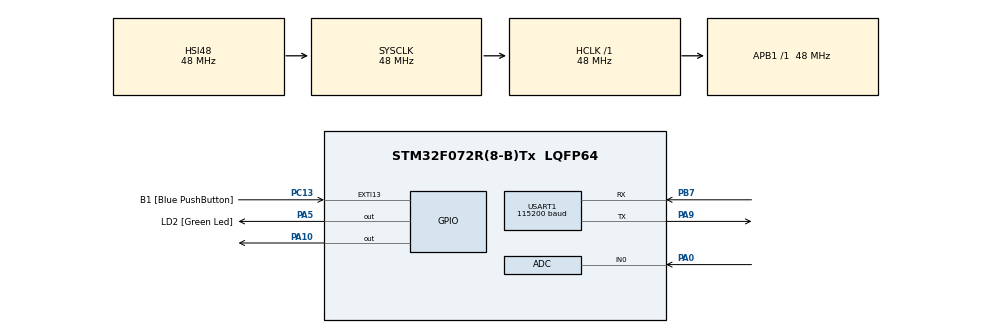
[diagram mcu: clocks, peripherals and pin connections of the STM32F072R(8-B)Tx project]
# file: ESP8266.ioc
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Dma.ADC.0.Direction=DMA_PERIPH_TO_MEMORY
Dma.ADC.0.Instance=DMA1_Channel1
Dma.ADC.0.MemDataAlignment=DMA_MDATAALIGN_HALFWORD
Dma.ADC.0.MemInc=DMA_MINC_ENABLE
Dma.ADC.0.Mode=DMA_NORMAL
Dma.ADC.0.PeriphDataAlignment=DMA_PDATAALIGN_HALFWORD
Dma.ADC.0.PeriphInc=DMA_PINC_DISABLE
Dma.ADC.0.Priority=DMA_PRIORITY_LOW
Dma.Request0=ADC
Mcu.Family=STM32F0
Mcu.Name=STM32F072R(8-B)Tx
Mcu.Package=LQFP64
NVIC.DMA1_Channel1_IRQn=true\:0\:0\:false\:false\:true\:false\:true\:true
PA0.Mode=IN0
PA0.Signal=ADC_IN0
PA10.Signal=GPIO_Output
PA13.GPIO_Label=TMS
PA13.Mode=Serial_Wire
PA13.Signal=SYS_SWDIO
PA14.GPIO_Label=TCK
PA14.Mode=Serial_Wire
PA14.Signal=SYS_SWCLK
PA2.GPIO_Label=USART_TX
PA2.GPIO_Mode=GPIO_MODE_AF_PP
PA2.GPIO_PuPd=GPIO_NOPULL
PA2.GPIO_Speed=GPIO_SPEED_FREQ_LOW
PA2.Signal=USART2_TX
PA3.GPIO_Label=USART_RX
PA3.GPIO_Mode=GPIO_MODE_AF_PP
PA3.GPIO_PuPd=GPIO_NOPULL
PA3.GPIO_Speed=GPIO_SPEED_FREQ_LOW
PA3.Signal=USART2_RX
PA5.GPIO_Label=LD2 [Green Led]
PA5.GPIO_Mode=GPIO_MODE_OUTPUT_PP
PA5.GPIO_PuPd=GPIO_NOPULL
PA5.GPIO_Speed=GPIO_SPEED_FREQ_LOW
PA5.Signal=GPIO_Output
PA9.Mode=Asynchronous
PA9.Signal=USART1_TX
PB7.Mode=Asynchronous
PB7.Signal=USART1_RX
PC13.GPIO_Label=B1 [Blue PushButton]
PC13.GPIO_ModeDefaultEXTI=GPIO_MODE_IT_FALLING
PC13.Signal=GPXTI13
PC14-OSC32_IN.Signal=RCC_OSC32_IN
PC15-OSC32_OUT.Signal=RCC_OSC32_OUT
PF0-OSC_IN.Mode=HSE-External-Oscillator
PF0-OSC_IN.Signal=RCC_OSC_IN
PF1-OSC_OUT.Mode=HSE-External-Oscillator
PF1-OSC_OUT.Signal=RCC_OSC_OUT
ProjectManager.HeapSize=0x200
ProjectManager.StackSize=0x400
ProjectManager.TargetToolchain=STM32CubeIDE
RCC.AHBFreq_Value=48000000
RCC.APB1Freq_Value=48000000
RCC.APB1TimFreq_Value=48000000
RCC.FLatency-AdvancedSettings=FLASH_LATENCY_1
RCC.HCLKFreq_Value=48000000
RCC.PLLDivider=RCC_PREDIV_DIV2
RCC.PLLMUL=RCC_PLL_MUL12
RCC.PREFETCH_ENABLE-AdvancedSettings=1
RCC.SYSCLKFreq_VALUE=48000000
RCC.SYSCLKSource=RCC_SYSCLKSOURCE_HSI48
USART1.BaudRate=115200
USART1.VirtualMode-Asynchronous=VM_ASYNC
board=NUCLEO-F072RB

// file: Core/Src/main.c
/* USER CODE BEGIN Header */
/**
  ******************************************************************************
  * @file           : main.c
  * @brief          : Main program body
  ******************************************************************************
  * @attention
  *
  * Copyright (c) 2024 STMicroelectronics.
  * All rights reserved.
  *
  * This software is licensed under terms that can be found in the LICENSE file
  * in the root directory of this software component.
  * If no LICENSE file comes with this software, it is provided AS-IS.
  *
  ******************************************************************************
  */
/* USER CODE END Header */
#include "main.h"

/* USER CODE BEGIN Includes */
#include <string.h>
#include <stdio.h>
/* USER CODE END Includes */

ADC_HandleTypeDef hadc;
DMA_HandleTypeDef hdma_adc;

UART_HandleTypeDef huart1;

/* USER CODE BEGIN PV */
void UART_SendString(UART_HandleTypeDef *huart, const char *str);
void UART_ReceiveString(UART_HandleTypeDef *huart, char *buffer, uint16_t buffer_size);
void ESP8266_SendATCommand(UART_HandleTypeDef *huart, const char *cmd, char *response, uint16_t response_size);
/* USER CODE END PV */

void SystemClock_Config(void);
static void MX_GPIO_Init(void);
static void MX_DMA_Init(void);
static void MX_ADC_Init(void);
static void MX_USART1_UART_Init(void);

/* USER CODE BEGIN 0 */
uint8_t rxBuffer[500] = {0};
uint8_t ATisOK;
char ATcommand[64];
char myData[64];
uint32_t timeout = 6000;
/* USER CODE END 0 */

int main(void)
{

  /* MCU Configuration--------------------------------------------------------*/

  /* Reset of all peripherals, Initializes the Flash interface and the Systick. */
  HAL_Init();

  /* USER CODE BEGIN Init */
//  ESP8266_Init(&huart2);
 // ESP8266_Init();
  /* USER CODE END Init */

  /* Configure the system clock */
  SystemClock_Config();

  /* USER CODE BEGIN SysInit */
  /*
__HAL_UART_ENABLE_IT(&huart3,UART_IT_RXNE); //rx interrupt aktif edildi

HAL_ADC_Start_DMA(&hadc, (uint32_t *)adc_buffer, 1);
start:
	if(ESP_INIT()) goto start; //esp den istediğin cevap gelmediğinde bu start a yani ESP_INIT()' e tekrar döner

*/

  /* USER CODE END SysInit */

  /* Initialize all configured peripherals */
  MX_GPIO_Init();
  MX_DMA_Init();
  MX_ADC_Init();
  MX_USART1_UART_Init();
  /* USER CODE BEGIN 2 */
  // AT komutu gönderme ve cevabı okuma
//  uint8_t rxBuffer[512] = {0};
//    uint8_t ATisOK;
//    int channel;
//    int onoff;
//    int led = 1;
//    char ATcommand[64];
//    char ATcommandB[1024];
//    char ATcommandN[100];
//    char ATcommandF[100];
//    char ATcommandT[16];
//    sprintf(ATcommandB,"<!DOCTYPE html><html>\n<head>\n\
//    <title>STM32 - ESP8266</title>\n<link href=\"data:image/x-icon;base64,\
//    A\" rel=\"icon\" type=\"image/x-icon\"><style>\nhtml {\
//    display: inline-block; margin: 0px auto; text-align: center;}\n\
//    body{margin-top: 50px;}\n.button {display: block;\n\
//    width: 70px;\nbackground-color: #008000;\nborder: none;\ncolor: white;\n\
//    padding: 14px 28px;\ntext-decoration: none;\nfont-size: 24px;\n\
//    margin: 0px auto 36px; \nborder-radius: 5px;}\n\
//    .button-on {background-color: #008000;}\n.button-on:active\
//    {background-color: #008000;}\n.button-off {background-color: #808080;}\n\
//    .button-off:active {background-color: #808080;}\n\
//    p {font-size: 14px;color: #808080;margin-bottom: 20px;}\n\
//    </style>\n</head>\n<body>\n<h1>STM32 - ESP8266</h1>");
//    sprintf(ATcommandN,"<p>Light is currently on\
//    </p><a class=\"button button-off\" href=\"/lightoff\">OFF</a>");
//    sprintf(ATcommandF,"<p>Light is currently off\
//    </p><a class=\"button button-on\" href=\"/lighton\">ON</a>");
//    sprintf(ATcommandT,"</body></html>");
//    int countB = strlen(ATcommandB);
//    int countN = strlen(ATcommandN);
//    int countF = strlen(ATcommandF);
//    int countT = strlen(ATcommandT);
//
//    sprintf(ATcommand,"AT+RST\r\n");
//    memset(rxBuffer,0,sizeof(rxBuffer));
//    HAL_UART_Transmit(&huart1,(uint8_t *)ATcommand,strlen(ATcommand),1000);
//    HAL_UART_Receive (&huart1, rxBuffer, 512, 100);
//    HAL_Delay(500);
//
//    ATisOK = 0;
//    while(!ATisOK){
//      sprintf(ATcommand,"AT+CWMODE_CUR=2\r\n");
//        memset(rxBuffer,0,sizeof(rxBuffer));
//        HAL_UART_Transmit(&huart1,(uint8_t *)ATcommand,strlen(ATcommand),1000);
//        HAL_UART_Receive (&huart1, rxBuffer, 512, 1000);
//      if(strstr((char *)rxBuffer,"OK")){
//        ATisOK = 1;
//      }
//      HAL_Delay(500);
//    }
//
//    ATisOK = 0;
//    while(!ATisOK){
//      sprintf(ATcommand,"AT+CWSAP_CUR=\"STM32\",\"12345678\",1,3,4,0\r\n");
//        memset(rxBuffer,0,sizeof(rxBuffer));
//        HAL_UART_Transmit(&huart1,(uint8_t *)ATcommand,strlen(ATcommand),1000);
//        HAL_UART_Receive (&huart1, rxBuffer, 512, 1000);
//      if(strstr((char *)rxBuffer,"OK")){
//        ATisOK = 1;
//      }
//      HAL_Delay(500);
//    }
//
//    ATisOK = 0;
//    while(!ATisOK){
//      sprintf(ATcommand,"AT+CIPAP_CUR=\"192.168.51.1\"\r\n");
//      memset(rxBuffer,0,sizeof(rxBuffer));
//      HAL_UART_Transmit(&huart1,(uint8_t *)ATcommand,strlen(ATcommand),1000);
//      HAL_UART_Receive (&huart1, rxBuffer, 512, 1000);
//      if(strstr((char *)rxBuffer,"OK")){
//        ATisOK = 1;
//      }
//      HAL_Delay(500);
//    }
//
//    ATisOK = 0;
//    while(!ATisOK){
//      sprintf(ATcommand,"AT+CIPMUX=1\r\n");
//        memset(rxBuffer,0,sizeof(rxBuffer));
//        HAL_UART_Transmit(&huart1,(uint8_t *)ATcommand,strlen(ATcommand),1000);
//        HAL_UART_Receive (&huart1, rxBuffer, 512, 1000);
//        if(strstr((char *)rxBuffer,"OK")){
//          ATisOK = 1;
//        }
//        HAL_Delay(500);
//    }
//
//    ATisOK = 0;
//    while(!ATisOK){
//      sprintf(ATcommand,"AT+CIPSERVER=1,80\r\n");
//      memset(rxBuffer,0,sizeof(rxBuffer));
//      HAL_UART_Transmit(&huart1,(uint8_t *)ATcommand,strlen(ATcommand),1000);
//      HAL_UART_Receive (&huart1, rxBuffer, 512, 1000);
//      if(strstr((char *)rxBuffer,"OK")){
//          ATisOK = 1;
//      }
//      HAL_Delay(500);
//    }

  sprintf(ATcommand, "AT+RST\r\n");
  memset(rxBuffer, 0, sizeof(rxBuffer));
  HAL_UART_Transmit(&huart1, (uint8_t*)ATcommand, strlen(ATcommand), 1000);
  HAL_UART_Receive(&huart1, (uint8_t*)rxBuffer, sizeof(rxBuffer), 1000);
  HAL_Delay(500);  // Yanıtın gelmesi için bekleme

  // AT komutunu gönderme ve yanıtı kontrol etme
//  while (!ATisOK)
//  {
//    sprintf(ATcommand, "AT\r\n");
//    memset(rxBuffer, 0, sizeof(rxBuffer));
//
//    if (HAL_UART_Transmit(&huart1, (uint8_t*)ATcommand, strlen(ATcommand), 1000) != HAL_OK)
//    {
//      // Handle transmission error
//    }
//
//    uint32_t start_time = HAL_GetTick(); // Start timeout timer
//    while (HAL_UART_Receive(&huart1, rxBuffer, sizeof(rxBuffer), timeout) != HAL_OK)
//    {
//      if (HAL_GetTick() - start_time >= timeout) {
//        // Handle timeout error
//        break;
//      }
//    }
//
//    if (strstr((char*)rxBuffer, "OK"))
//    {
//      ATisOK = 1;
//    } else
//    {
//      // Handle unexpected response
//    }
//
//    HAL_Delay(500); // Or adjust based on your needs
//  }

  ATisOK = 0;
  while (!ATisOK)
  {
	//sprintf(ATcommand, "AT+CIPSTART=\"TCP\",\"192.168.1.103\",8080\r\n");
	sprintf(ATcommand, "AT+CWMODE=1\r\n");
    memset(rxBuffer, 0, sizeof(rxBuffer));

    if (HAL_UART_Transmit(&huart1, (uint8_t*)ATcommand, strlen(ATcommand), 1000) != HAL_OK)
    {
      // Handle transmission error
    }

    uint32_t start_time = HAL_GetTick(); // Start timeout timer
    while (HAL_UART_Receive(&huart1, rxBuffer, sizeof(rxBuffer), timeout) != HAL_OK)
    {
      if (HAL_GetTick() - start_time >= timeout) {
        // Handle timeout error
        break;
      }
    }

    if (strstr((char*)rxBuffer, "OK"))
    {
      ATisOK = 1;
    } else
    {
      // Handle unexpected response
    }

    HAL_Delay(500); // Or adjust based on your needs
  }

  ATisOK = 0;
  while (!ATisOK)
  {
    sprintf(ATcommand, "AT+CWJAP=\"TurkTelekom_T35F8\",\"6tZhxeGz\"\r\n");
    memset(rxBuffer, 0, sizeof(rxBuffer));

    if (HAL_UART_Transmit(&huart1, (uint8_t*)ATcommand, strlen(ATcommand), 1000) != HAL_OK)
    {
      // Handle transmission error
    }

    uint32_t start_time = HAL_GetTick(); // Start timeout timer
    while (HAL_UART_Receive(&huart1, rxBuffer, sizeof(rxBuffer), timeout) != HAL_OK)
    {
      if (HAL_GetTick() - start_time >= timeout)
      {
        // Handle timeout error
        break;
      }
    }

    // Check for expected response based on your module's documentation
    if (strstr((char*)rxBuffer, "WIFI CONNECTED"))
    {
    	if (strstr((char*)rxBuffer, "WIFI GOT IP"))
    	{
    		if (strstr((char*)rxBuffer, "OK"))
    		{
    			ATisOK = 1;
    		}

    	}

    } else
    {
      // Handle unexpected response (print rxBuffer for debugging)
    }

    HAL_Delay(500); // Or adjust based on your needs
  }

  ATisOK = 0;
  while (!ATisOK)
  {
	sprintf(ATcommand, "AT+CIPSTART=\"TCP\",\"192.168.1.103\",8080\r\n");
    memset(rxBuffer, 0, sizeof(rxBuffer));

    if (HAL_UART_Transmit(&huart1, (uint8_t*)ATcommand, strlen(ATcommand), 1000) != HAL_OK)
    {
      // Handle transmission error
    }

    uint32_t start_time = HAL_GetTick(); // Start timeout timer
    while (HAL_UART_Receive(&huart1, rxBuffer, sizeof(rxBuffer), timeout) != HAL_OK)
    {
      if (HAL_GetTick() - start_time >= timeout)
      {
        // Handle timeout error
        break;
      }
    }

    // Check for expected response based on your module's documentation
    if (strstr((char*)rxBuffer, "CONNECT"))
    {

    	if (strstr((char*)rxBuffer, "OK"))
    	{
    		ATisOK = 1;
    	}

    }
    else if (strstr((char*)rxBuffer, "CLOSED") || strstr((char*)rxBuffer, "ERROR")  ) // server closed
	{

	}
    else
    {
      // Handle unexpected response (print rxBuffer for debugging)
    }

    HAL_Delay(500); // Or adjust based on your needs
  }

  ATisOK = 0;
  while (!ATisOK)
  {

	sprintf(ATcommand, "AT+CIPMODE=1\r\n"); // Transparan mode on
    memset(rxBuffer, 0, sizeof(rxBuffer));

    if (HAL_UART_Transmit(&huart1, (uint8_t*)ATcommand, strlen(ATcommand), 1000) != HAL_OK)
    {
      // Handle transmission error
    }

    uint32_t start_time = HAL_GetTick(); // Start timeout timer
    while (HAL_UART_Receive(&huart1, rxBuffer, sizeof(rxBuffer), timeout) != HAL_OK)
    {
      if (HAL_GetTick() - start_time >= timeout) {
        // Handle timeout error
        break;
      }
    }

    if (strstr((char*)rxBuffer, "OK"))
    {
      ATisOK = 1;
    }
    else
    {
      // Handle unexpected response
    }

    HAL_Delay(500); // Or adjust based on your needs
  }

  ATisOK = 0;
  while (!ATisOK)
  {

	sprintf(ATcommand, "AT+CIPSEND\r\n"); // Transparan mode on

	sprintf(myData, "Hello Burak!\r\n");
    memset(rxBuffer, 0, sizeof(rxBuffer));

    if (HAL_UART_Transmit(&huart1, (uint8_t*)ATcommand, strlen(ATcommand), 1000) != HAL_OK)
    {
      // Handle transmission error
    }

    uint32_t start_time = HAL_GetTick(); // Start timeout timer
    while (HAL_UART_Receive(&huart1, rxBuffer, sizeof(rxBuffer), timeout) != HAL_OK)
    {
      if (HAL_GetTick() - start_time >= timeout) {
        // Handle timeout error
        break;
      }
    }

    if (strstr((char*)rxBuffer, "OK"))
    {
    	if (strstr((char*)rxBuffer, ">"))
    	{
    	    if (HAL_UART_Transmit(&huart1, (uint8_t*)myData, strlen(myData), 1000) != HAL_OK)
    	    {
    	      // Handle transmission error
    	    }

    		ATisOK = 1;
    	}

    }
    else
    {
      // Handle unexpected response
    }

    HAL_Delay(500); // Or adjust based on your needs
  }

  /* USER CODE END 2 */

  /* Infinite loop */
  while (1)
  {

    /* USER CODE BEGIN 3 */

//	    memset(rxBuffer,0,sizeof(rxBuffer));
//	    HAL_UART_Receive (&huart1, rxBuffer, 512, 1000);
//	    if(strstr((char *)rxBuffer,"+IPD,0")) channel = 0;
//	    else if(strstr((char *)rxBuffer,"+IPD,1")) channel = 1;
//	    else if(strstr((char *)rxBuffer,"+IPD,2")) channel = 2;
//	    else if(strstr((char *)rxBuffer,"+IPD,3")) channel = 3;
//	    else if(strstr((char *)rxBuffer,"+IPD,4")) channel = 4;
//	    else if(strstr((char *)rxBuffer,"+IPD,5")) channel = 5;
//	    else if(strstr((char *)rxBuffer,"+IPD,6")) channel = 6;
//	    else if(strstr((char *)rxBuffer,"+IPD,7")) channel = 7;
//	    else channel = 100;
//
//	    if(strstr((char *)rxBuffer,"GET /lighton")) onoff = 0;
//	    else if(strstr((char *)rxBuffer,"GET /lightoff")) onoff = 1;
//	    else onoff = led;
//
//	    if(channel<8 && onoff == 1)
//	    {
//	      HAL_GPIO_WritePin(GPIOA, GPIO_PIN_5, GPIO_PIN_SET);
//	      led = 1;
//	      sprintf(ATcommand,"AT+CIPSEND=%d,%d\r\n",channel,countB+countF+countT);
//	      memset(rxBuffer,0,sizeof(rxBuffer));
//	      HAL_UART_Transmit(&huart1,(uint8_t *)ATcommand,strlen(ATcommand),1000);
//	      HAL_UART_Receive (&huart1, rxBuffer, 512, 100);
//	      if(strstr((char *)rxBuffer,">"))
//	      {
//	        memset(rxBuffer,0,sizeof(rxBuffer));
//	          HAL_UART_Transmit(&huart1,(uint8_t *)ATcommandB,countB,1000);
//	          HAL_UART_Transmit(&huart1,(uint8_t *)ATcommandF,countF,1000);
//	          HAL_UART_Transmit(&huart1,(uint8_t *)ATcommandT,countT,1000);
//	         HAL_UART_Receive (&huart1, rxBuffer, 512, 100);
//	      }
//	      sprintf(ATcommand,"AT+CIPCLOSE=%d\r\n",channel);
//	      memset(rxBuffer,0,sizeof(rxBuffer));
//	      HAL_UART_Transmit(&huart1,(uint8_t *)ATcommand,strlen(ATcommand),1000);
//	      HAL_UART_Receive (&huart1, rxBuffer, 512, 100);
//	      channel=100;
//	    }
//	    else if(channel<8 && onoff == 0)
//	    {
//	      HAL_GPIO_WritePin(GPIOA, GPIO_PIN_5, GPIO_PIN_RESET);
//	      led = 0;
//	      sprintf(ATcommand,"AT+CIPSEND=%d,%d\r\n",channel,countB+countN+countT);
//	      memset(rxBuffer,0,sizeof(rxBuffer));
//	      HAL_UART_Transmit(&huart1,(uint8_t *)ATcommand,strlen(ATcommand),1000);
//	      HAL_UART_Receive (&huart1, rxBuffer, 512, 100);
//	      if(strstr((char *)rxBuffer,">"))
//	      {
//	        memset(rxBuffer,0,sizeof(rxBuffer));
//	          HAL_UART_Transmit(&huart1,(uint8_t *)ATcommandB,countB,1000);
//	          HAL_UART_Transmit(&huart1,(uint8_t *)ATcommandN,countN,1000);
//	          HAL_UART_Transmit(&huart1,(uint8_t *)ATcommandT,countT,1000);
//	          HAL_UART_Receive (&huart1, rxBuffer, 512, 100);
//	      }
//	      sprintf(ATcommand,"AT+CIPCLOSE=%d\r\n",channel);
//	      memset(rxBuffer,0,sizeof(rxBuffer));
//	      HAL_UART_Transmit(&huart1,(uint8_t *)ATcommand,strlen(ATcommand),1000);
//	      HAL_UART_Receive (&huart1, rxBuffer, 512, 100);
//	      channel=100;
//	    }

	//  ESP8266_SendATCommand(&huart1, "AT+RST\r\n", response, RX_BUFFER_SIZE);
	  //HAL_Delay(500); // ESP8266'nın resetlenmesi için bekleme
	 // ESP8266_SendATCommand(&huart1, "AT\r\n", response, RX_BUFFER_SIZE);
	/*  ESP8266_SendATCommand(&huart1, "AT+CWMODE_CUR=2\r\n", response, RX_BUFFER_SIZE);
	  ESP8266_SendATCommand(&huart1, "AT+CWSAP_CUR=\"STM32\",\"12345678\",1,3,4,0\r\n", response, RX_BUFFER_SIZE);
	  ESP8266_SendATCommand(&huart1, "AT+CIPAP_CUR=\"192.168.51.1\"\r\n", response, RX_BUFFER_SIZE);
	  ESP8266_SendATCommand(&huart1, "AT+CIPMUX=1\r\n", response, RX_BUFFER_SIZE);
	  ESP8266_SendATCommand(&huart1, "AT+CIPSERVER=1,80\r\n", response, RX_BUFFER_SIZE);

*/

  }
  /* USER CODE END 3 */
}

void SystemClock_Config(void)
{
  RCC_OscInitTypeDef RCC_OscInitStruct = {0};
  RCC_ClkInitTypeDef RCC_ClkInitStruct = {0};
  RCC_PeriphCLKInitTypeDef PeriphClkInit = {0};

  /** Initializes the RCC Oscillators according to the specified parameters
  * in the RCC_OscInitTypeDef structure.
  */
  RCC_OscInitStruct.OscillatorType = RCC_OSCILLATORTYPE_HSI14|RCC_OSCILLATORTYPE_HSI48;
  RCC_OscInitStruct.HSI48State = RCC_HSI48_ON;
  RCC_OscInitStruct.HSI14State = RCC_HSI14_ON;
  RCC_OscInitStruct.HSI14CalibrationValue = 16;
  RCC_OscInitStruct.PLL.PLLState = RCC_PLL_NONE;
  if (HAL_RCC_OscConfig(&RCC_OscInitStruct) != HAL_OK)
  {
    Error_Handler();
  }

  /** Initializes the CPU, AHB and APB buses clocks
  */
  RCC_ClkInitStruct.ClockType = RCC_CLOCKTYPE_HCLK|RCC_CLOCKTYPE_SYSCLK
                              |RCC_CLOCKTYPE_PCLK1;
  RCC_ClkInitStruct.SYSCLKSource = RCC_SYSCLKSOURCE_HSI48;
  RCC_ClkInitStruct.AHBCLKDivider = RCC_SYSCLK_DIV1;
  RCC_ClkInitStruct.APB1CLKDivider = RCC_HCLK_DIV1;

  if (HAL_RCC_ClockConfig(&RCC_ClkInitStruct, FLASH_LATENCY_1) != HAL_OK)
  {
    Error_Handler();
  }
  PeriphClkInit.PeriphClockSelection = RCC_PERIPHCLK_USART1;
  PeriphClkInit.Usart1ClockSelection = RCC_USART1CLKSOURCE_PCLK1;
  if (HAL_RCCEx_PeriphCLKConfig(&PeriphClkInit) != HAL_OK)
  {
    Error_Handler();
  }
}

static void MX_ADC_Init(void)
{

  ADC_ChannelConfTypeDef sConfig = {0};

  /** Configure the global features of the ADC (Clock, Resolution, Data Alignment and number of conversion)
  */
  hadc.Instance = ADC1;
  hadc.Init.ClockPrescaler = ADC_CLOCK_ASYNC_DIV1;
  hadc.Init.Resolution = ADC_RESOLUTION_12B;
  hadc.Init.DataAlign = ADC_DATAALIGN_RIGHT;
  hadc.Init.ScanConvMode = ADC_SCAN_DIRECTION_FORWARD;
  hadc.Init.EOCSelection = ADC_EOC_SINGLE_CONV;
  hadc.Init.LowPowerAutoWait = DISABLE;
  hadc.Init.LowPowerAutoPowerOff = DISABLE;
  hadc.Init.ContinuousConvMode = DISABLE;
  hadc.Init.DiscontinuousConvMode = DISABLE;
  hadc.Init.ExternalTrigConv = ADC_SOFTWARE_START;
  hadc.Init.ExternalTrigConvEdge = ADC_EXTERNALTRIGCONVEDGE_NONE;
  hadc.Init.DMAContinuousRequests = DISABLE;
  hadc.Init.Overrun = ADC_OVR_DATA_PRESERVED;
  if (HAL_ADC_Init(&hadc) != HAL_OK)
  {
    Error_Handler();
  }

  /** Configure for the selected ADC regular channel to be converted.
  */
  sConfig.Channel = ADC_CHANNEL_0;
  sConfig.Rank = ADC_RANK_CHANNEL_NUMBER;
  sConfig.SamplingTime = ADC_SAMPLETIME_1CYCLE_5;
  if (HAL_ADC_ConfigChannel(&hadc, &sConfig) != HAL_OK)
  {
    Error_Handler();
  }

}

static void MX_USART1_UART_Init(void)
{

  huart1.Instance = USART1;
  huart1.Init.BaudRate = 115200;
  huart1.Init.WordLength = UART_WORDLENGTH_8B;
  huart1.Init.StopBits = UART_STOPBITS_1;
  huart1.Init.Parity = UART_PARITY_NONE;
  huart1.Init.Mode = UART_MODE_TX_RX;
  huart1.Init.HwFlowCtl = UART_HWCONTROL_NONE;
  huart1.Init.OverSampling = UART_OVERSAMPLING_16;
  huart1.Init.OneBitSampling = UART_ONE_BIT_SAMPLE_DISABLE;
  huart1.AdvancedInit.AdvFeatureInit = UART_ADVFEATURE_NO_INIT;
  if (HAL_UART_Init(&huart1) != HAL_OK)
  {
    Error_Handler();
  }

}

static void MX_DMA_Init(void)
{

  /* DMA controller clock enable */
  __HAL_RCC_DMA1_CLK_ENABLE();

  /* DMA interrupt init */
  /* DMA1_Channel1_IRQn interrupt configuration */
  HAL_NVIC_SetPriority(DMA1_Channel1_IRQn, 0, 0);
  HAL_NVIC_EnableIRQ(DMA1_Channel1_IRQn);

}

static void MX_GPIO_Init(void)
{
  GPIO_InitTypeDef GPIO_InitStruct = {0};

  /* GPIO Ports Clock Enable */
  __HAL_RCC_GPIOC_CLK_ENABLE();
  __HAL_RCC_GPIOF_CLK_ENABLE();
  __HAL_RCC_GPIOA_CLK_ENABLE();
  __HAL_RCC_GPIOB_CLK_ENABLE();

  /*Configure GPIO pin Output Level */
  HAL_GPIO_WritePin(GPIOA, LD2_Pin|GPIO_PIN_10, GPIO_PIN_RESET);

  /*Configure GPIO pin : B1_Pin */
  GPIO_InitStruct.Pin = B1_Pin;
  GPIO_InitStruct.Mode = GPIO_MODE_IT_FALLING;
  GPIO_InitStruct.Pull = GPIO_NOPULL;
  HAL_GPIO_Init(B1_GPIO_Port, &GPIO_InitStruct);

  /*Configure GPIO pins : USART_TX_Pin USART_RX_Pin */
  GPIO_InitStruct.Pin = USART_TX_Pin|USART_RX_Pin;
  GPIO_InitStruct.Mode = GPIO_MODE_AF_PP;
  GPIO_InitStruct.Pull = GPIO_NOPULL;
  GPIO_InitStruct.Speed = GPIO_SPEED_FREQ_LOW;
  GPIO_InitStruct.Alternate = GPIO_AF1_USART2;
  HAL_GPIO_Init(GPIOA, &GPIO_InitStruct);

  /*Configure GPIO pins : LD2_Pin PA10 */
  GPIO_InitStruct.Pin = LD2_Pin|GPIO_PIN_10;
  GPIO_InitStruct.Mode = GPIO_MODE_OUTPUT_PP;
  GPIO_InitStruct.Pull = GPIO_NOPULL;
  GPIO_InitStruct.Speed = GPIO_SPEED_FREQ_LOW;
  HAL_GPIO_Init(GPIOA, &GPIO_InitStruct);

}

void Error_Handler(void)
{
  __disable_irq();
  while (1)
  {
  }
}
